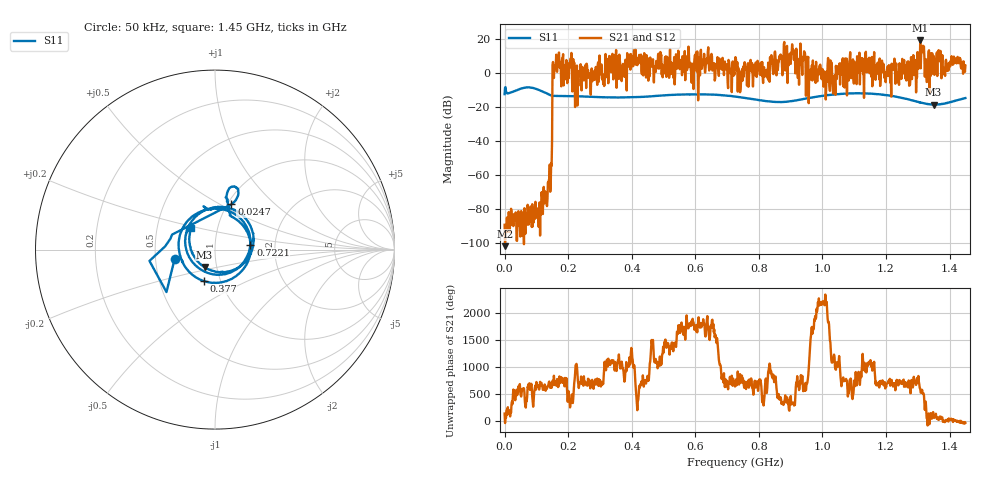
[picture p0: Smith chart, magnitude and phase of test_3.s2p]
! Created with skrf 1.11.0 (http://scikit-rf.org).
# Hz S RI R 50.0
!freq ReS11 ImS11 ReS21 ImS21 ReS12 ImS12 ReS22 ImS22
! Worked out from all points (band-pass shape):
!   1001 points, 50 kHz to 1.45 GHz, reference 50 ohm
!   highest |S21| = 18.89 dB at 1.308 GHz (marker M1); lowest = -102.1 dB at 1.5 MHz (marker M2)
!   |S21| within 3 dB of the highest: 878.6421 MHz to 880.4737 MHz (1.832 MHz wide, 0.208 % of centre); 904.6168 MHz to 905.0782 MHz (461.4 kHz wide, 0.051 % of centre) (the widest 2 of 4)
!   lowest |S11| = -19.0 dB at 1.35 GHz (marker M3), VSWR 1.25, Z = 43.7 - j8.54 ohm
!   |S11| at or under -10 dB: start of sweep to 1.078 MHz; 3.752 MHz to 43.55 MHz (39.8 MHz wide, 168 % of centre); 104.6 MHz to end of sweep
!   |S22| runs from - to - dB; largest |S21 - S12| = 0
!   S11 on the Smith chart (normalised r, x): 50 kHz: 0.63, -0.07; 24.7 MHz: 1.04, +0.57; 377 MHz: 0.83, -0.30; 722.1 MHz: 1.49, +0.08; 1.45 GHz: 0.75, +0.19
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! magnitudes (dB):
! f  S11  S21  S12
! 50 kHz  -12.7  -89.6  -89.6
! 1.5 MHz  -8.9  -102.1  -102.1
! 24.7 MHz  -11.4  -89.0  -89.0
! 132 MHz  -12.2  -76.0  -76.0
! 142.1 MHz  -13.1  -54.1  -54.1
! 158.1 MHz  -13.7  4.1  4.1
! 242.2 MHz  -14.0  -10.5  -10.5
! 377 MHz  -14.6  -2.4  -2.4
! 404.6 MHz  -14.5  3.8  3.8
! 484.3 MHz  -13.6  11.1  11.1
! 722.1 MHz  -14.0  -0.1  -0.1
! 725 MHz  -14.1  6.7  6.7
! 741 MHz  -14.5  -11.6  -11.6
! 826.5 MHz  -16.9  1.3  1.3
! 904.8 MHz  -16.7  16.6  16.6
! 967.2 MHz  -14.7  4.4  4.4
! 1.209 GHz  -13.5  4.4  4.4
! 1.269 GHz  -15.7  -1.3  -1.3
! 1.308 GHz  -17.6  18.9  18.9
! 1.33 GHz  -18.5  -5.5  -5.5
! 1.35 GHz  -19.0  9.8  9.8
! 1.45 GHz  -15.0  4.0  4.0
